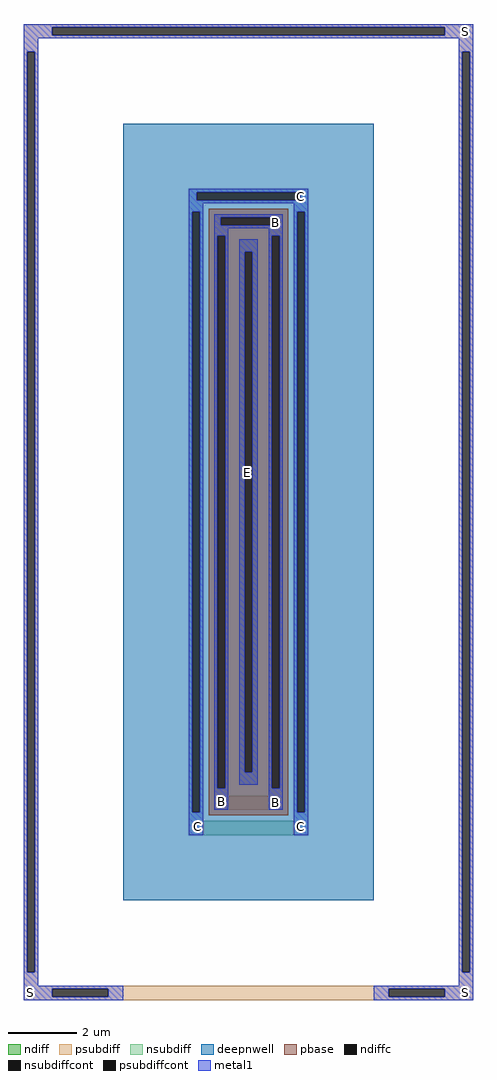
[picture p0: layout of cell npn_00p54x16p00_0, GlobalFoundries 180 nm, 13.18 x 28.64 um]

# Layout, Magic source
magic
tech gf180mcuD
magscale 1 10
<< deepnwell >>
rect -680 -680 788 3880
<< pbase >>
rect -180 -180 288 3380
<< ndiff >>
rect 0 3127 108 3200
rect 0 73 31 3127
rect 77 73 108 3127
rect 0 0 108 73
<< ndiffc >>
rect 31 73 77 3127
<< psubdiff >>
rect -1264 4445 1372 4464
rect -1264 4399 -1097 4445
rect 1205 4399 1372 4445
rect -1264 4380 1372 4399
rect -1264 4302 -1180 4380
rect -1264 -1102 -1245 4302
rect -1199 -1102 -1180 4302
rect 1288 4302 1372 4380
rect -148 3329 256 3348
rect -148 3283 -109 3329
rect 219 3283 256 3329
rect -148 3264 256 3283
rect -148 3220 -64 3264
rect -148 -22 -129 3220
rect -83 -22 -64 3220
rect 172 3220 256 3264
rect -148 -64 -64 -22
rect 172 -22 191 3220
rect 237 -22 256 3220
rect 172 -64 256 -22
rect -148 -148 256 -64
rect -1264 -1180 -1180 -1102
rect 1288 -1102 1307 4302
rect 1353 -1102 1372 4302
rect 1288 -1180 1372 -1102
rect -1264 -1199 1372 -1180
rect -1264 -1245 -1097 -1199
rect -769 -1245 877 -1199
rect 1205 -1245 1372 -1199
rect -1264 -1264 1372 -1245
<< nsubdiff >>
rect -296 3477 404 3496
rect -296 3431 -251 3477
rect 359 3431 404 3477
rect -296 3412 404 3431
rect -296 3361 -212 3412
rect -296 -163 -277 3361
rect -231 -163 -212 3361
rect 320 3361 404 3412
rect -296 -212 -212 -163
rect 320 -163 339 3361
rect 385 -163 404 3361
rect 320 -212 404 -163
rect -296 -296 404 -212
<< psubdiffcont >>
rect -1097 4399 1205 4445
rect -1245 -1102 -1199 4302
rect -109 3283 219 3329
rect -129 -22 -83 3220
rect 191 -22 237 3220
rect 1307 -1102 1353 4302
rect -1097 -1245 -769 -1199
rect 877 -1245 1205 -1199
<< nsubdiffcont >>
rect -251 3431 359 3477
rect -277 -163 -231 3361
rect 339 -163 385 3361
<< metal1 >>
rect -1264 4445 1372 4464
rect -1264 4399 -1097 4445
rect 1205 4399 1372 4445
rect -1264 4380 1372 4399
rect -1264 4302 -1180 4380
rect -1264 -1102 -1245 4302
rect -1199 -1102 -1180 4302
rect 1288 4302 1372 4380
rect -296 3477 404 3496
rect -296 3431 -251 3477
rect 359 3431 404 3477
rect -296 3412 404 3431
rect -296 3361 -212 3412
rect -296 -163 -277 3361
rect -231 -163 -212 3361
rect 320 3361 404 3412
rect -148 3329 256 3348
rect -148 3283 -109 3329
rect 219 3283 256 3329
rect -148 3264 256 3283
rect -148 3220 -64 3264
rect -148 -22 -129 3220
rect -83 -22 -64 3220
rect 172 3220 256 3264
rect 0 3127 108 3200
rect 0 73 31 3127
rect 77 73 108 3127
rect 0 0 108 73
rect -148 -148 -64 -22
rect 172 -22 191 3220
rect 237 -22 256 3220
rect 172 -148 256 -22
rect -296 -296 -212 -163
rect 320 -163 339 3361
rect 385 -163 404 3361
rect 320 -296 404 -163
rect -1264 -1180 -1180 -1102
rect 1288 -1102 1307 4302
rect 1353 -1102 1372 4302
rect 1288 -1180 1372 -1102
rect -1264 -1199 -680 -1180
rect -1264 -1245 -1097 -1199
rect -769 -1245 -680 -1199
rect -1264 -1264 -680 -1245
rect 788 -1199 1372 -1180
rect 788 -1245 877 -1199
rect 1205 -1245 1372 -1199
rect 788 -1264 1372 -1245
<< labels >>
flabel ndiffc 50 1832 50 1832 0 FreeSans 400 0 0 0 E
flabel metal1 214 -102 214 -102 0 FreeSans 400 0 0 0 B
flabel psubdiffcont 214 3301 214 3301 0 FreeSans 400 0 0 0 B
flabel metal1 -104 -99 -104 -99 0 FreeSans 400 0 0 0 B
flabel metal1 361 -248 361 -248 0 FreeSans 400 0 0 0 C
flabel metal1 362 3453 362 3453 0 FreeSans 400 0 0 0 C
flabel metal1 -248 -248 -248 -248 0 FreeSans 400 0 0 0 C
flabel metal1 -1223 -1221 -1223 -1221 0 FreeSans 400 0 0 0 S
flabel metal1 -1223 -1221 -1223 -1221 0 FreeSans 400 0 0 0 S
flabel metal1 1328 -1221 1328 -1221 0 FreeSans 400 0 0 0 S
flabel metal1 1328 -1221 1328 -1221 0 FreeSans 400 0 0 0 S
flabel metal1 1330 4422 1330 4422 0 FreeSans 400 0 0 0 S
<< properties >>
string GDS_END 25004
string GDS_FILE $PDKPATH/libs.ref/gf180mcu_fd_pr/gds/npn_00p54x16p00.gds
string GDS_START 112
string gencell npn_00p54x16p00
<< end >>
